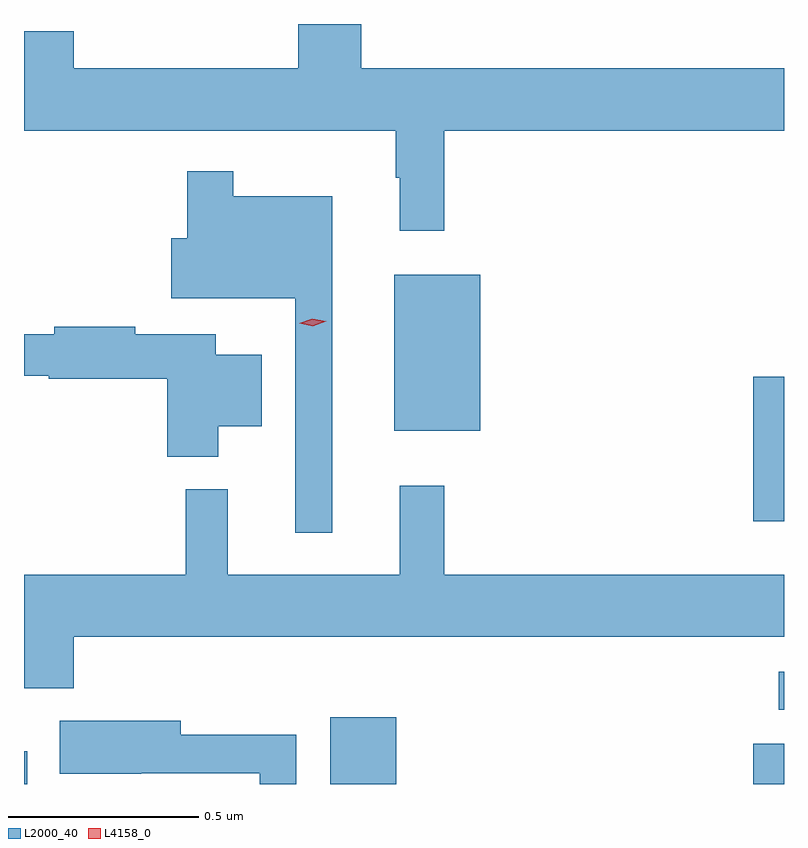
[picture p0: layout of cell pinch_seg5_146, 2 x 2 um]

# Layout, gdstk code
import gdstk
lib = gdstk.Library(unit=1e-6, precision=1e-09)
def R(c, l, rs):  # rectangles x0, y0, x1, y1
    for r in rs: c.add(gdstk.rectangle(r[:2], r[2:], *l))
def P(c, l, *ps):  # polygons
    for p in ps: c.add(gdstk.Polygon(p, *l))
L2000_40 = (2000, 40)
L4158_0 = (4158, 0)

pinch_seg5_146 = lib.new_cell('pinch_seg5_146')
R(pinch_seg5_146, L2000_40, [(1016.337,880.349,1016.346,880.435), (1017.143,880.349,1017.316,880.525), (1018.256,880.349,1018.337,880.455), (1018.323,880.544,1018.337,880.645), (1018.256,881.04,1018.337,881.421), (1017.311,881.279,1017.538,881.689)])
P(pinch_seg5_146, L2000_40, [(1017.443,882.068),(1018.337,882.068),(1018.337,882.232),(1017.224,882.232),(1017.224,882.349),(1017.059,882.349),(1017.059,882.232),(1016.468,882.232),(1016.468,882.33),(1016.337,882.33),(1016.337,882.068),(1017.315,882.068),(1017.315,881.945),(1017.326,881.945),(1017.326,881.805),(1017.443,881.805)],
  [(1017.148,881.896),(1016.887,881.896),(1016.887,881.962),(1016.766,881.962),(1016.766,881.785),(1016.724,881.785),(1016.724,881.627),(1017.051,881.627),(1017.051,881.01),(1017.148,881.01)],
  [(1016.848,881.291),(1016.962,881.291),(1016.962,881.479),(1016.842,881.479),(1016.842,881.532),(1016.63,881.532),(1016.63,881.552),(1016.416,881.552),(1016.416,881.533),(1016.337,881.533),(1016.337,881.424),(1016.402,881.424),(1016.402,881.416),(1016.714,881.416),(1016.714,881.21),(1016.848,881.21)],
  [(1016.468,880.736),(1018.337,880.736),(1018.337,880.9),(1017.443,880.9),(1017.443,881.134),(1017.326,881.134),(1017.326,880.9),(1016.873,880.9),(1016.873,881.125),(1016.763,881.125),(1016.763,880.9),(1016.337,880.9),(1016.337,880.601),(1016.468,880.601)],
  [(1017.054,880.478),(1016.749,880.478),(1016.749,880.516),(1016.431,880.516),(1016.431,880.376),(1016.645,880.376),(1016.645,880.377),(1016.958,880.377),(1016.958,880.349),(1017.054,880.349)])
P(pinch_seg5_146, L4158_0, [(1017.097,881.554),(1017.061,881.562),(1017.061,881.562),(1017.061,881.562),(1017.096,881.574),(1017.132,881.567),(1017.132,881.567),(1017.132,881.567)])

lib.write_gds('pinch_seg5_146.gds')
